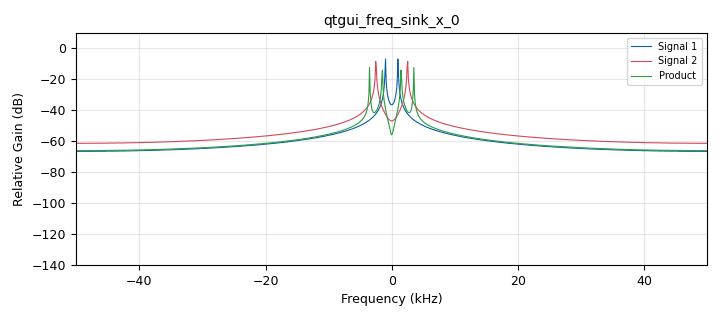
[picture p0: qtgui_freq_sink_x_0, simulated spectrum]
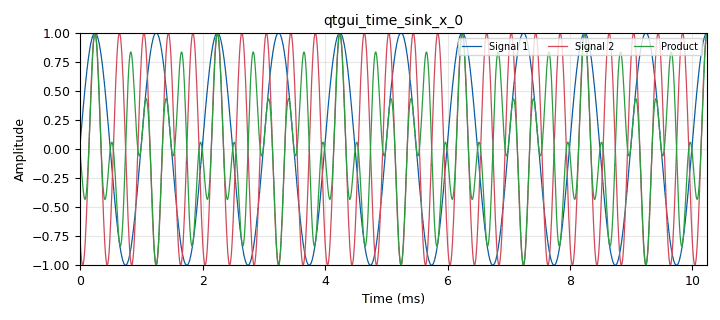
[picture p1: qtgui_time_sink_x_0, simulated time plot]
options:
  parameters:
    author: jason
    generate_options: qt_gui
    id: complexPlotsMultiplyCosines
    output_language: python
    title: complexPlotsMultiplyCosines
  states: {}

blocks:
- name: freq1
  id: variable_qtgui_range
  parameters:
    orient: Qt.Horizontal
    start: '-samp_rate'
    step: '1'
    stop: samp_rate
    value: samp_rate/100
  states: {}
- name: freq2
  id: variable_qtgui_range
  parameters:
    orient: Qt.Horizontal
    start: '-samp_rate'
    step: '1'
    stop: samp_rate
    value: samp_rate/40
  states: {}
- name: samp_rate
  id: variable
  parameters:
    value: 100e3
  states: {}
- name: analog_sig_source_x_0
  id: analog_sig_source_x
  parameters:
    amp: '1'
    freq: freq1
    offset: '0'
    phase: '0'
    samp_rate: samp_rate
    type: float
    waveform: analog.GR_COS_WAVE
  states: {}
- name: analog_sig_source_x_0_0
  id: analog_sig_source_x
  parameters:
    amp: '1'
    freq: freq2
    offset: '0'
    phase: '0'
    samp_rate: samp_rate
    type: float
    waveform: analog.GR_COS_WAVE
  states: {}
- name: blocks_multiply_xx_0
  id: blocks_multiply_xx
  parameters:
    type: float
  states: {}
- name: blocks_throttle_0
  id: blocks_throttle
  parameters:
    samples_per_second: samp_rate
    type: float
  states: {}
- name: qtgui_freq_sink_x_0
  id: qtgui_freq_sink_x
  parameters:
    bw: samp_rate
    fc: '0'
    fftsize: '1024'
    label1: Signal 1
    label2: Signal 2
    label3: Product
    nconnections: '3'
    type: float
    wintype: firdes.WIN_RECTANGULAR
  states: {}
- name: qtgui_time_sink_x_0
  id: qtgui_time_sink_x
  parameters:
    label3: Product
    nconnections: '3'
    size: '1024'
    srate: samp_rate
    type: float
  states: {}

connections:
- [analog_sig_source_x_0, '0', blocks_multiply_xx_0, '0']
- [analog_sig_source_x_0, '0', qtgui_freq_sink_x_0, '0']
- [analog_sig_source_x_0, '0', qtgui_time_sink_x_0, '0']
- [analog_sig_source_x_0_0, '0', blocks_multiply_xx_0, '1']
- [analog_sig_source_x_0_0, '0', qtgui_freq_sink_x_0, '1']
- [analog_sig_source_x_0_0, '0', qtgui_time_sink_x_0, '1']
- [blocks_multiply_xx_0, '0', blocks_throttle_0, '0']
- [blocks_throttle_0, '0', qtgui_freq_sink_x_0, '2']
- [blocks_throttle_0, '0', qtgui_time_sink_x_0, '2']

metadata:
  file_format: 1
